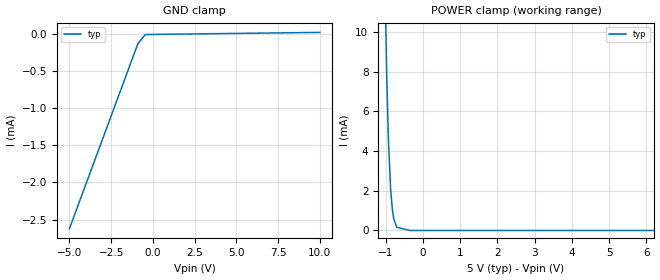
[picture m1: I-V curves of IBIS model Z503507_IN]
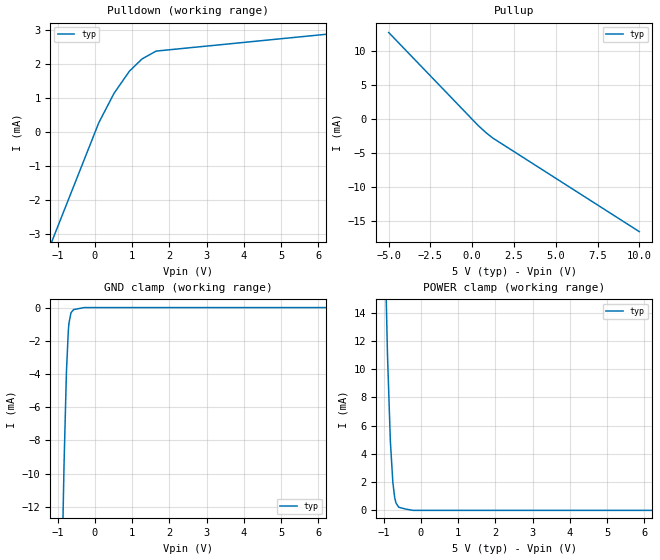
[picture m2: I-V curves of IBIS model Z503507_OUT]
| YOU ARE ONLY AUTHORIZED TO USE THIS SOFTWARE
| ACCORDING TO LICENSOR'S LICENSE RESTRICTIONS.
[IBIS Ver] 3.1
[File Name] mc14025bcp.ibs
[File Rev] 2.0
[Source] Measured and created by ICX Technology
[Date] Friday 7/14/00 9:07:52 AM
[Copyright]
| (C) COPYRIGHT 1993-2000
| MENTOR GRAPHICS CORPORATION
| ICX STANDARD LIBRARY, ICX PROJECT MODELING,
| ICX CUSTOM MODELING, ICX VENDOR MODEL
| ALL RIGHTS RESERVED.
| THE FOLLOWING ARE TRADEMARKS OR SERVICE MARKS OF
| MENTOR GRAPHICS CORPORATION:ICX (R), ICX STANDARD
| LIBRARY(R), ICX PROJECT MODELING(R), ICX CUSTOM
| MODELING(R), qualityIBIS(TM), MODELVIEWER(TM),
| AND MODELEDITOR(TM)
| ALL COPIES OF SOFTWARE, INCLUDING BUT NOT LIMITED TO
| ANY MODIFICATIONS, ENHANCEMENTS OR DERIVATIVE WORKS,
| MUST CONTAIN ALL MENTOR GRAPHICS CORPORATION'S
| NOTICES AND LEGENDS, INCLUDING THOSE EMBEDDED IN
| SOFTWARE AND THOSE AFFIXED TO SOFTWARE MEDIUM
| AND CONTAINER, AS RECEIVED FROM MENTOR GRAPHICS
| CORPORATION.
|  ZAP Model Builder 2.7
[Component] MC14025BCP
[Manufacturer] OnSemiconductor
[Package]
| variable   typ   min   max
R_pkg  .21ohms NA NA
L_pkg  4.543nH NA NA
C_pkg  1.059pF NA NA
[Pin] signal_name  model_name  R_pin  L_pin C_pin
1 IN1A Z503507_IN .22 6.757n 1.432p
2 IN2A Z503507_IN .212 4.757n 1.142p
3 IN1B Z503507_IN .204 3.257n .852p
4 IN2B Z503507_IN .196 2.257n .562p
5 IN3B Z503507_IN .204 3.257n .852p
6 OUTB Z503507_OUT .212 4.757n 1.142p
7 VSS GND .22 6.757n 1.432p
8 IN3A Z503507_IN .22 6.757n 1.432p
9 OUTA Z503507_OUT .212 4.757n 1.142p
10 OUTC Z503507_OUT .204 3.257n .852p
11 IN1C Z503507_IN .196 2.257n .562p
12 IN2C Z503507_IN .204 3.257n .852p
13 IN3 Z503507_IN .212 4.757n 1.142p
14 VDD POWER .22 6.757n 1.432p
| Models and submodels in the file (2): Z503507_IN (Input), Z503507_OUT (Output)
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| (C) COPYRIGHT 1993-2000
| MENTOR GRAPHICS CORPORATION
| ICX STANDARD LIBRARY, ICX PROJECT MODELING,
| ICX CUSTOM MODELING, ICX VENDOR MODEL
| ALL RIGHTS RESERVED.
| THE FOLLOWING ARE TRADEMARKS OR SERVICE MARKS OF
| MENTOR GRAPHICS CORPORATION:ICX (R), ICX STANDARD
| LIBRARY(R), ICX PROJECT MODELING(R), ICX CUSTOM
| MODELING(R), qualityIBIS(TM), MODELVIEWER(TM),
| AND MODELEDITOR(TM)
| ALL COPIES OF SOFTWARE, INCLUDING BUT NOT LIMITED TO
| ANY MODIFICATIONS, ENHANCEMENTS OR DERIVATIVE WORKS,
| MUST CONTAIN ALL MENTOR GRAPHICS CORPORATION'S
| NOTICES AND LEGENDS, INCLUDING THOSE EMBEDDED IN
| SOFTWARE AND THOSE AFFIXED TO SOFTWARE MEDIUM
| AND CONTAINER, AS RECEIVED FROM MENTOR GRAPHICS
| CORPORATION.
| Model Application Version 1.89 2/18/99.
[Model] Z503507_IN
Model_type Input
Vinl = 1.500V
Vinh = 3.500V
C_comp 4.000pF NA NA
| variable typ   min   max
[Voltage Range] 5.000V NA NA
[GND Clamp Reference] 0.000V NA NA
[POWER Clamp Reference] 5.000V NA NA
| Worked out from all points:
|   POWER clamp passes 1 mA (typ) near -0.82 V on its own axis
[GND Clamp]
-5V       -2.622mA   NA         NA
-903.3mV  -135.7uA   NA         NA
-451.6mV  -9.946uA   NA         NA
10V       18.61uA    NA         NA
[POWER Clamp]
-5V       831.9mA    NA         NA
-1.152V   31.43mA    NA         NA
-1.05V    15.87mA    NA         NA
-972mV    7.751mA    NA         NA
-923mV    4.405mA    NA         NA
-868mV    2.105mA    NA         NA
-820mV    1.047mA    NA         NA
-784mV    605uA      NA         NA
-706mV    162.5uA    NA         NA
-353mV    0A         NA         NA
10V       0A         NA         NA
| (C) COPYRIGHT 1993-2000
| MENTOR GRAPHICS CORPORATION
| ICX STANDARD LIBRARY, ICX PROJECT MODELING,
| ICX CUSTOM MODELING, ICX VENDOR MODEL
| ALL RIGHTS RESERVED.
| THE FOLLOWING ARE TRADEMARKS OR SERVICE MARKS OF
| MENTOR GRAPHICS CORPORATION:ICX (R), ICX STANDARD
| LIBRARY(R), ICX PROJECT MODELING(R), ICX CUSTOM
| MODELING(R), qualityIBIS(TM), MODELVIEWER(TM),
| AND MODELEDITOR(TM)
| ALL COPIES OF SOFTWARE, INCLUDING BUT NOT LIMITED TO
| ANY MODIFICATIONS, ENHANCEMENTS OR DERIVATIVE WORKS,
| MUST CONTAIN ALL MENTOR GRAPHICS CORPORATION'S
| NOTICES AND LEGENDS, INCLUDING THOSE EMBEDDED IN
| SOFTWARE AND THOSE AFFIXED TO SOFTWARE MEDIUM
| AND CONTAINER, AS RECEIVED FROM MENTOR GRAPHICS
| CORPORATION.
| Model Application Version 1.89 2/18/99.
[Model] Z503507_OUT
Model_type Output
Vref=0.000V
Rref=500.0Mohms
Cref=50.00pF
Vmeas=2.500V
C_comp 8.000pF NA NA
| variable typ   min   max
[Voltage Range] 5.000V NA NA
[POWER Clamp Reference] 5.000V NA NA
[Pullup Reference] 5.000V NA NA
[Pulldown Reference] 0.000V NA NA
[GND Clamp Reference] 0.000V NA NA
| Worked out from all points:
|   slope of the pulldown table from 0 to 0.75 V, typ, clamps not added: 492 ohm
|   slope of the pullup table from 0 to 0.75 V, typ, clamps not added: 420 ohm
|   GND clamp passes 1 mA (typ) near -0.70 V on its own axis
|   POWER clamp passes 1 mA (typ) near -0.71 V on its own axis
[GND Clamp]
-5V       -488.8mA   NA         NA
-830mV    -9.395mA   NA         NA
-766.5mV  -3.892mA   NA         NA
-715.4mV  -1.39mA    NA         NA
-700.3mV  -970.8uA   NA         NA
-644.5mV  -311.1uA   NA         NA
-571.3mV  -120.5uA   NA         NA
-285.7mV  0A         NA         NA
10V       0A         NA         NA
[Pulldown]
-5V       -13.84mA   NA         NA
104.2mV   278.5uA    NA         NA
514.3mV   1.143mA    NA         NA
926.7mV   1.791mA    NA         NA
1.264V    2.148mA    NA         NA
1.641V    2.378mA    NA         NA
10V       3.282mA    NA         NA
[Pullup]
-5V       12.64mA    NA         NA
376mV     -1.042mA   NA         NA
860mV     -2.115mA   NA         NA
1.233V    -2.832mA   NA         NA
10V       -16.55mA   NA         NA
[POWER Clamp]
-5V       494.7mA    NA         NA
-897mV    11.05mA    NA         NA
-820mV    4.923mA    NA         NA
-752mV    1.951mA    NA         NA
-703mV    897.7uA    NA         NA
-668mV    523.7uA    NA         NA
-596mV    224uA      NA         NA
-420mV    97.97uA    NA         NA
-210mV    0A         NA         NA
10V       0A         NA         NA
[Ramp]
| variable typ min max
dV/dt_r 2.587/16.52n NA NA
dV/dt_f 2.587/13.77n NA NA
R_load = 2.500kOhms
